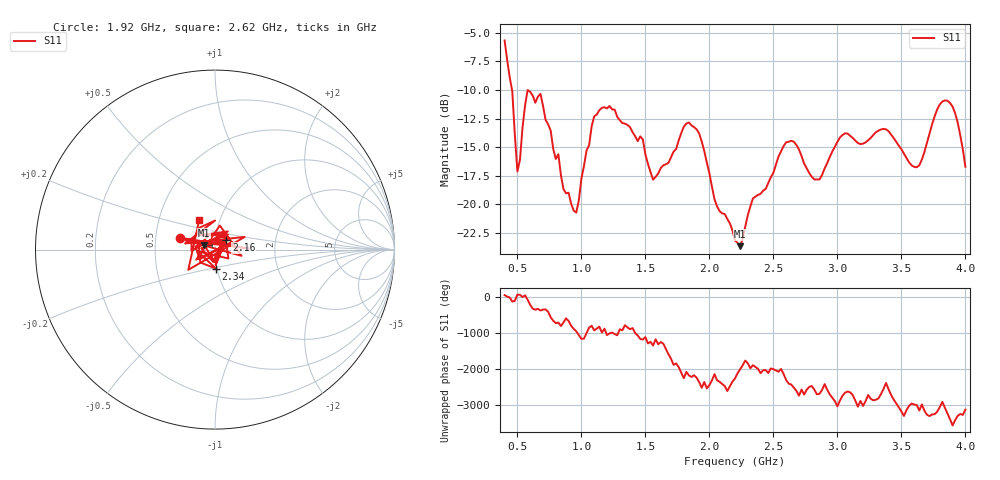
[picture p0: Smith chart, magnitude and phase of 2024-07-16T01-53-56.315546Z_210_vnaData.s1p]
!Created with skrf (http://scikit-rf.org).
# Hz S RI R 50.0
!freq ReS11 ImS11
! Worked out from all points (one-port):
!   181 points, 400 MHz to 4 GHz, reference 50 ohm
!   lowest |S11| = -23.7 dB at 2.24 GHz (marker M1), VSWR 1.14, Z = 44.2 + j2.27 ohm
!   |S11| at or under -10 dB: 458.1 MHz to end of sweep
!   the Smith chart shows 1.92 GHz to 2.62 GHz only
!   S11 on the Smith chart (normalised r, x): 1.92 GHz: 0.67, +0.09; 2.16 GHz: 1.13, +0.12; 2.34 GHz: 0.99, -0.21; 2.62 GHz: 0.80, +0.27
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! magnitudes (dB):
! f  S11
! 400 MHz  -5.7
! 460 MHz  -10.1
! 500 MHz  -17.1
! 580 MHz  -10.0
! 680 MHz  -10.3
! 860 MHz  -18.7
! 960 MHz  -20.7
! 1.1 GHz  -12.3
! 1.3 GHz  -12.6
! 1.48 GHz  -14.3
! 1.56 GHz  -17.8
! 1.76 GHz  -14.4
! 1.92 GHz  -13.8
! 2.04 GHz  -19.6
! 2.16 GHz  -21.7
! 2.2 GHz  -23.2
! 2.24 GHz  -23.7
! 2.34 GHz  -19.5
! 2.62 GHz  -14.5
! 2.66 GHz  -14.5
! 2.86 GHz  -17.8
! 3.1 GHz  -14.0
! 3.38 GHz  -13.4
! 3.56 GHz  -16.3
! 3.64 GHz  -16.6
! 3.84 GHz  -10.9
! 3.92 GHz  -12.0
! 4 GHz  -16.7
